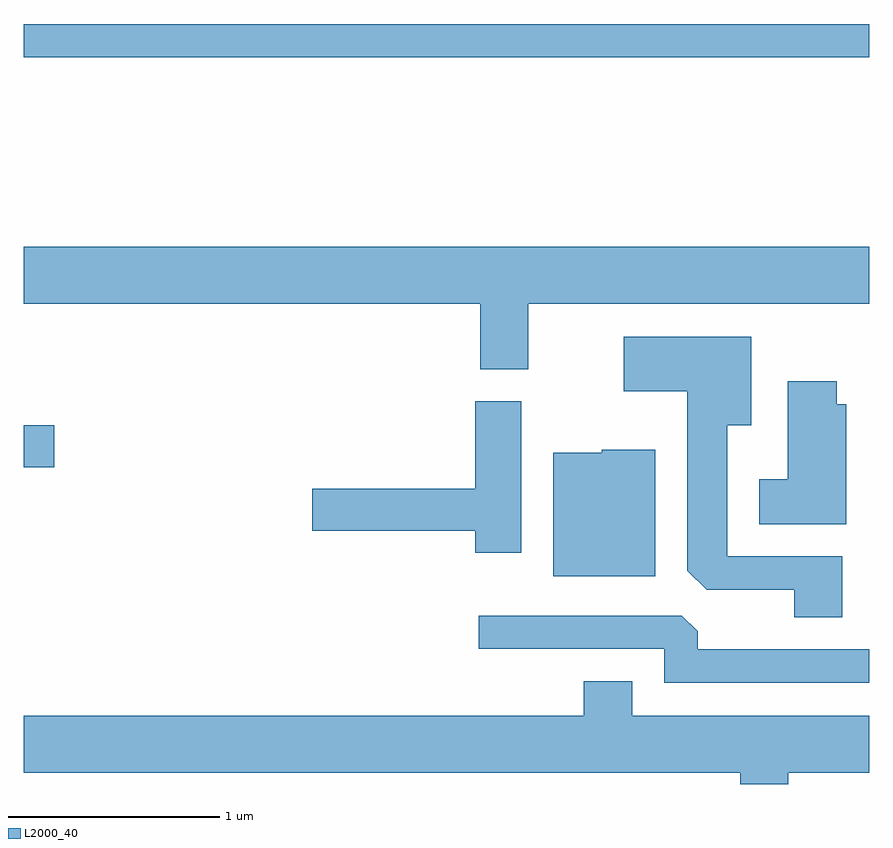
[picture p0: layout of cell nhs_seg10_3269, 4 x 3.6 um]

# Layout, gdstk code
import gdstk
lib = gdstk.Library(unit=1e-6, precision=1e-09)
def R(c, l, rs):  # rectangles x0, y0, x1, y1
    for r in rs: c.add(gdstk.rectangle(r[:2], r[2:], *l))
def P(c, l, *ps):  # polygons
    for p in ps: c.add(gdstk.Polygon(p, *l))
L2000_40 = (2000, 40)

nhs_seg10_3269 = lib.new_cell('nhs_seg10_3269')
R(nhs_seg10_3269, L2000_40, [(281.611,2122.021,281.754,2122.219), (281.611,2123.961,285.611,2124.119)])
P(nhs_seg10_3269, L2000_40, [(283.999,2122.796),(285.611,2122.796),(285.611,2123.064),(281.611,2123.064),(281.611,2122.796),(283.771,2122.796),(283.771,2122.486),(283.999,2122.486)],
  [(285.484,2121.599),(284.939,2121.599),(284.939,2122.221),(285.054,2122.221),(285.054,2122.639),(284.451,2122.639),(284.451,2122.381),(284.751,2122.381),(284.751,2121.532),(284.842,2121.441),(285.256,2121.441),(285.256,2121.311),(285.484,2121.311)],
  [(285.504,2122.319),(285.459,2122.319),(285.459,2122.429),(285.226,2122.429),(285.226,2121.964),(285.091,2121.964),(285.091,2121.751),(285.504,2121.751)],
  [(283.964,2122.334),(283.746,2122.334),(283.746,2121.919),(282.976,2121.919),(282.976,2121.721),(283.746,2121.721),(283.746,2121.616),(283.964,2121.616)],
  [(284.599,2122.104),(284.345,2122.104),(284.345,2122.089),(284.116,2122.089),(284.116,2121.506),(284.599,2121.506)],
  [(285.611,2121.159),(284.799,2121.159),(284.799,2121.244),(284.724,2121.319),(283.763,2121.319),(283.763,2121.161),(284.641,2121.161),(284.641,2121.001),(285.611,2121.001)],
  [(285.229,2120.576),(285.611,2120.576),(285.611,2120.844),(284.489,2120.844),(284.489,2121.009),(284.261,2121.009),(284.261,2120.844),(281.611,2120.844),(281.611,2120.576),(285.001,2120.576),(285.001,2120.522),(285.229,2120.522)])

lib.write_gds('nhs_seg10_3269.gds')
